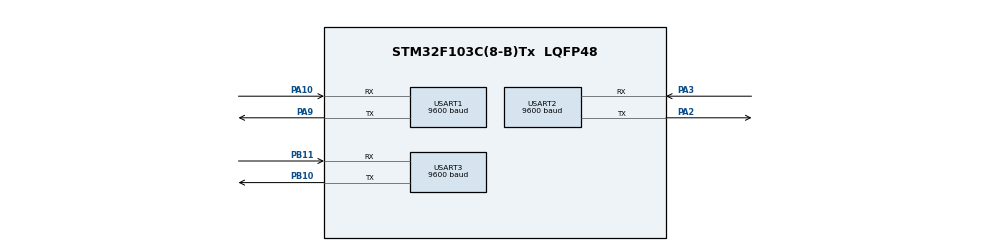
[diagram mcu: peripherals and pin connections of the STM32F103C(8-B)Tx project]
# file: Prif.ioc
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Mcu.Family=STM32F1
Mcu.Name=STM32F103C(8-B)Tx
Mcu.Package=LQFP48
NVIC.PriorityGroup=NVIC_PRIORITYGROUP_4
PA10.Mode=Asynchronous
PA10.Signal=USART1_RX
PA13.Mode=Serial_Wire
PA13.Signal=SYS_JTMS-SWDIO
PA14.Mode=Serial_Wire
PA14.Signal=SYS_JTCK-SWCLK
PA2.Mode=Asynchronous
PA2.Signal=USART2_TX
PA3.Mode=Asynchronous
PA3.Signal=USART2_RX
PA9.Mode=Asynchronous
PA9.Signal=USART1_TX
PB10.Mode=Asynchronous
PB10.Signal=USART3_TX
PB11.Mode=Asynchronous
PB11.Signal=USART3_RX
ProjectManager.HeapSize=0x200
ProjectManager.StackSize=0x400
ProjectManager.TargetToolchain=MDK-ARM V5.32
RCC.APB1Freq_Value=8000000
RCC.APB2Freq_Value=8000000
USART1.BaudRate=9600
USART1.VirtualMode=VM_ASYNC
USART2.BaudRate=9600
USART2.VirtualMode=VM_ASYNC
USART3.BaudRate=9600
USART3.VirtualMode=VM_ASYNC
board=custom

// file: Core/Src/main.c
/* USER CODE BEGIN Header */
/**
  ******************************************************************************
  * @file           : main.c
  * @brief          : Main program body
  ******************************************************************************
  * @attention
  *
  * Copyright (c) 2024 STMicroelectronics.
  * All rights reserved.
  *
  * This software is licensed under terms that can be found in the LICENSE file
  * in the root directory of this software component.
  * If no LICENSE file comes with this software, it is provided AS-IS.
  *
  ******************************************************************************
  */
/* USER CODE END Header */
#include "main.h"

/* USER CODE BEGIN Includes */
#define __FILE_INCOMPLETE 1
#include <stdio.h>

struct __FILE
{
  int handle;
};
FILE __stdout;

/* USER CODE END Includes */

UART_HandleTypeDef huart1;
UART_HandleTypeDef huart2;
UART_HandleTypeDef huart3;

/* USER CODE BEGIN PV */

int fputc(int ch, FILE *f)
{
  HAL_UART_Transmit(&huart1, (uint8_t *)&ch, 1, 100);
  return ch;
}
int ferror(FILE *f)
{
  /* Your implementation of ferror(). */
  return 0;
}
void testPrintf(void)
{
  //printf("Hello world\n \t");
	//printf ("Integers: %i %u \n", -3456, 3456);
	//printf ("Characters: %c %c \n", 'z', 80);
	//printf ("Decimals: %d %ld\n", 1997, 32000L);
	//printf ("Some different radices: %d %x %o %#x %#o \n", 100, 100, 100, 100, 100);
	//printf ("floats: %4.2f %+.0e %E \n", 3.14159, 3.14159, 3.14159);
	//printf ("Preceding with empty spaces: %10d \n", 1997);
	//printf ("Preceding with zeros: %010d \n", 1997);
	//printf ("Width: %*d \n", 15, 140);
	//printf ("%s \n", " A string ");
	HAL_Delay(20000);
}

void terminalClock(void)
{
	for (int hour = 0; hour < 25; hour++)
	{
		if (hour == 24) hour = 0;
		for (int minute = 0; minute < 60; minute++)
		{
			for (int second = 0; second < 60; second++)
			{
				printf("Time: %02d:%02d:%02d \n", hour, minute, second);
				HAL_Delay(1000);
			}
		}
	}
}

/* USER CODE END PV */

void SystemClock_Config(void);
static void MX_GPIO_Init(void);
static void MX_USART1_UART_Init(void);
static void MX_USART2_UART_Init(void);
static void MX_USART3_UART_Init(void);

int main(void)
{

  /* MCU Configuration--------------------------------------------------------*/

  /* Reset of all peripherals, Initializes the Flash interface and the Systick. */
  HAL_Init();

  /* Configure the system clock */
  SystemClock_Config();

  /* Initialize all configured peripherals */
  MX_GPIO_Init();
  MX_USART1_UART_Init();
  MX_USART2_UART_Init();
  MX_USART3_UART_Init();

  /* Infinite loop */
  while (1)
  {

    /* USER CODE BEGIN 3 */
		terminalClock();
		//testPrintf();
  }
  /* USER CODE END 3 */
}

void SystemClock_Config(void)
{
  RCC_OscInitTypeDef RCC_OscInitStruct = {0};
  RCC_ClkInitTypeDef RCC_ClkInitStruct = {0};

  /** Initializes the RCC Oscillators according to the specified parameters
  * in the RCC_OscInitTypeDef structure.
  */
  RCC_OscInitStruct.OscillatorType = RCC_OSCILLATORTYPE_HSI;
  RCC_OscInitStruct.HSIState = RCC_HSI_ON;
  RCC_OscInitStruct.HSICalibrationValue = RCC_HSICALIBRATION_DEFAULT;
  RCC_OscInitStruct.PLL.PLLState = RCC_PLL_NONE;
  if (HAL_RCC_OscConfig(&RCC_OscInitStruct) != HAL_OK)
  {
    Error_Handler();
  }

  /** Initializes the CPU, AHB and APB buses clocks
  */
  RCC_ClkInitStruct.ClockType = RCC_CLOCKTYPE_HCLK|RCC_CLOCKTYPE_SYSCLK
                              |RCC_CLOCKTYPE_PCLK1|RCC_CLOCKTYPE_PCLK2;
  RCC_ClkInitStruct.SYSCLKSource = RCC_SYSCLKSOURCE_HSI;
  RCC_ClkInitStruct.AHBCLKDivider = RCC_SYSCLK_DIV1;
  RCC_ClkInitStruct.APB1CLKDivider = RCC_HCLK_DIV1;
  RCC_ClkInitStruct.APB2CLKDivider = RCC_HCLK_DIV1;

  if (HAL_RCC_ClockConfig(&RCC_ClkInitStruct, FLASH_LATENCY_0) != HAL_OK)
  {
    Error_Handler();
  }
}

static void MX_USART1_UART_Init(void)
{

  huart1.Instance = USART1;
  huart1.Init.BaudRate = 9600;
  huart1.Init.WordLength = UART_WORDLENGTH_8B;
  huart1.Init.StopBits = UART_STOPBITS_1;
  huart1.Init.Parity = UART_PARITY_NONE;
  huart1.Init.Mode = UART_MODE_TX_RX;
  huart1.Init.HwFlowCtl = UART_HWCONTROL_NONE;
  huart1.Init.OverSampling = UART_OVERSAMPLING_16;
  if (HAL_UART_Init(&huart1) != HAL_OK)
  {
    Error_Handler();
  }

}

static void MX_USART2_UART_Init(void)
{

  huart2.Instance = USART2;
  huart2.Init.BaudRate = 9600;
  huart2.Init.WordLength = UART_WORDLENGTH_8B;
  huart2.Init.StopBits = UART_STOPBITS_1;
  huart2.Init.Parity = UART_PARITY_NONE;
  huart2.Init.Mode = UART_MODE_TX_RX;
  huart2.Init.HwFlowCtl = UART_HWCONTROL_NONE;
  huart2.Init.OverSampling = UART_OVERSAMPLING_16;
  if (HAL_UART_Init(&huart2) != HAL_OK)
  {
    Error_Handler();
  }

}

static void MX_USART3_UART_Init(void)
{

  huart3.Instance = USART3;
  huart3.Init.BaudRate = 9600;
  huart3.Init.WordLength = UART_WORDLENGTH_8B;
  huart3.Init.StopBits = UART_STOPBITS_1;
  huart3.Init.Parity = UART_PARITY_NONE;
  huart3.Init.Mode = UART_MODE_TX_RX;
  huart3.Init.HwFlowCtl = UART_HWCONTROL_NONE;
  huart3.Init.OverSampling = UART_OVERSAMPLING_16;
  if (HAL_UART_Init(&huart3) != HAL_OK)
  {
    Error_Handler();
  }

}

static void MX_GPIO_Init(void)
{

  /* GPIO Ports Clock Enable */
  __HAL_RCC_GPIOA_CLK_ENABLE();
  __HAL_RCC_GPIOB_CLK_ENABLE();

}

void Error_Handler(void)
{
  __disable_irq();
  while (1)
  {
  }
}
